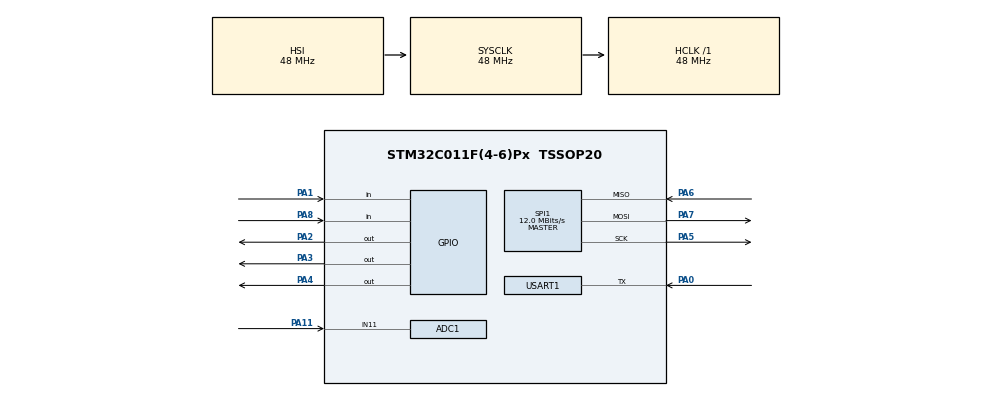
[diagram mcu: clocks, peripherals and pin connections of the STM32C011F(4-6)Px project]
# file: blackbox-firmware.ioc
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ADC1.NbrOfConversionFlag=0
ADC1.SelectedChannel=ADC_CHANNEL_11
ADC1.master=1
Dma.Request0=SPI1_TX
Dma.Request1=SPI1_RX
Dma.Request2=USART1_RX
Dma.SPI1_RX.1.Direction=DMA_PERIPH_TO_MEMORY
Dma.SPI1_RX.1.EventEnable=DISABLE
Dma.SPI1_RX.1.Instance=DMA1_Channel2
Dma.SPI1_RX.1.MemDataAlignment=DMA_MDATAALIGN_BYTE
Dma.SPI1_RX.1.MemInc=DMA_MINC_ENABLE
Dma.SPI1_RX.1.Mode=DMA_NORMAL
Dma.SPI1_RX.1.PeriphDataAlignment=DMA_PDATAALIGN_BYTE
Dma.SPI1_RX.1.PeriphInc=DMA_PINC_DISABLE
Dma.SPI1_RX.1.Polarity=HAL_DMAMUX_REQ_GEN_RISING
Dma.SPI1_RX.1.Priority=DMA_PRIORITY_LOW
Dma.SPI1_RX.1.RequestNumber=1
Dma.SPI1_RX.1.SignalID=NONE
Dma.SPI1_RX.1.SyncEnable=DISABLE
Dma.SPI1_RX.1.SyncPolarity=HAL_DMAMUX_SYNC_NO_EVENT
Dma.SPI1_RX.1.SyncRequestNumber=1
Dma.SPI1_RX.1.SyncSignalID=NONE
Dma.SPI1_TX.0.Direction=DMA_MEMORY_TO_PERIPH
Dma.SPI1_TX.0.EventEnable=DISABLE
Dma.SPI1_TX.0.Instance=DMA1_Channel1
Dma.SPI1_TX.0.MemDataAlignment=DMA_MDATAALIGN_BYTE
Dma.SPI1_TX.0.MemInc=DMA_MINC_ENABLE
Dma.SPI1_TX.0.Mode=DMA_NORMAL
Dma.SPI1_TX.0.PeriphDataAlignment=DMA_PDATAALIGN_BYTE
Dma.SPI1_TX.0.PeriphInc=DMA_PINC_DISABLE
Dma.SPI1_TX.0.Polarity=HAL_DMAMUX_REQ_GEN_RISING
Dma.SPI1_TX.0.Priority=DMA_PRIORITY_VERY_HIGH
Dma.SPI1_TX.0.RequestNumber=1
Dma.SPI1_TX.0.SignalID=NONE
Dma.SPI1_TX.0.SyncEnable=DISABLE
Dma.SPI1_TX.0.SyncPolarity=HAL_DMAMUX_SYNC_NO_EVENT
Dma.SPI1_TX.0.SyncRequestNumber=1
Dma.SPI1_TX.0.SyncSignalID=NONE
Dma.USART1_RX.2.Direction=DMA_PERIPH_TO_MEMORY
Dma.USART1_RX.2.EventEnable=DISABLE
Dma.USART1_RX.2.Instance=DMA1_Channel3
Dma.USART1_RX.2.MemDataAlignment=DMA_MDATAALIGN_BYTE
Dma.USART1_RX.2.MemInc=DMA_MINC_ENABLE
Dma.USART1_RX.2.Mode=DMA_CIRCULAR
Dma.USART1_RX.2.PeriphDataAlignment=DMA_PDATAALIGN_BYTE
Dma.USART1_RX.2.PeriphInc=DMA_PINC_DISABLE
Dma.USART1_RX.2.Polarity=HAL_DMAMUX_REQ_GEN_RISING
Dma.USART1_RX.2.Priority=DMA_PRIORITY_LOW
Dma.USART1_RX.2.RequestNumber=1
Dma.USART1_RX.2.SignalID=NONE
Dma.USART1_RX.2.SyncEnable=DISABLE
Dma.USART1_RX.2.SyncPolarity=HAL_DMAMUX_SYNC_NO_EVENT
Dma.USART1_RX.2.SyncRequestNumber=1
Dma.USART1_RX.2.SyncSignalID=NONE
Mcu.Family=STM32C0
Mcu.Name=STM32C011F(4-6)Px
Mcu.Package=TSSOP20
NVIC.DMA1_Channel1_IRQn=true\:0\:0\:false\:false\:true\:false\:true\:true
NVIC.DMA1_Channel2_3_IRQn=true\:0\:0\:false\:false\:true\:false\:true\:true
NVIC.SPI1_IRQn=true\:0\:0\:false\:false\:true\:true\:true\:true
NVIC.TIM14_IRQn=true\:0\:0\:false\:false\:true\:true\:true\:true
NVIC.USART1_IRQn=true\:0\:0\:false\:false\:true\:true\:true\:true
PA0.Mode=Half_duplex(single_wire_mode)
PA0.Signal=USART1_TX
PA1.GPIO_PuPd=GPIO_PULLUP
PA1.Signal=GPIO_Input
PA11\ [PA9].Mode=IN11
PA11\ [PA9].Signal=ADC1_IN11
PA13.Mode=Serial_Wire
PA13.Signal=DEBUG_SWDIO
PA14-BOOT0.Mode=Serial_Wire
PA14-BOOT0.Signal=DEBUG_SWCLK
PA2.Signal=GPIO_Output
PA3.Signal=GPIO_Output
PA4.GPIO_Speed=GPIO_SPEED_FREQ_VERY_HIGH
PA4.Signal=GPIO_Output
PA5.Mode=Full_Duplex_Master
PA5.Signal=SPI1_SCK
PA6.Mode=Full_Duplex_Master
PA6.Signal=SPI1_MISO
PA7.Mode=Full_Duplex_Master
PA7.Signal=SPI1_MOSI
PA8.GPIO_PuPd=GPIO_PULLUP
PA8.Signal=GPIO_Input
PC14-OSCX_IN\ (PC14).Mode=HSE-External-Oscillator-REMAPPED
PC14-OSCX_IN\ (PC14).Signal=RCC_OSCX_IN
PC15-OSCX_OUT\ (PC15).Mode=HSE-External-Oscillator-REMAPPED
PC15-OSCX_OUT\ (PC15).Signal=RCC_OSCX_OUT
ProjectManager.HeapSize=0x0
ProjectManager.StackSize=0x400
ProjectManager.TargetToolchain=CMake
RCC.ADCFreq_Value=48000000
RCC.AHBFreq_Value=48000000
RCC.CortexFreq_Value=48000000
RCC.EXTERNAL_CLOCK_VALUE=12288000
RCC.HCLKFreq_Value=48000000
RCC.HSE_VALUE=12000000
RCC.HSISYSCLKDivider=RCC_HSI_DIV1
RCC.HSI_VALUE=48000000
RCC.LSE_VALUE=32768
RCC.SYSCLKFreq_VALUE=48000000
SPI1.BaudRatePrescaler=SPI_BAUDRATEPRESCALER_4
SPI1.CalculateBaudRate=12.0 MBits/s
SPI1.Direction=SPI_DIRECTION_2LINES
SPI1.Mode=SPI_MODE_MASTER
SPI1.VirtualType=VM_MASTER
TIM14.Period=999
TIM14.Prescaler=47
USART1.BaudRate=3000000
USART1.Mode=MODE_RX
USART1.VirtualMode-Half_duplex(single_wire_mode)=VM_ASYNC
VP_TIM14_VS_ClockSourceINT.Mode=Enable_Timer
board=custom

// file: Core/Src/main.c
/* USER CODE BEGIN Header */
/**
  ******************************************************************************
  * @file           : main.c
  * @brief          : Main program body
  ******************************************************************************
  * @attention
  *
  * Copyright (c) 2026 STMicroelectronics.
  * All rights reserved.
  *
  * This software is licensed under terms that can be found in the LICENSE file
  * in the root directory of this software component.
  * If no LICENSE file comes with this software, it is provided AS-IS.
  *
  ******************************************************************************
  */
/* USER CODE END Header */
#include "main.h"

/* USER CODE BEGIN Includes */
#include <stdint.h>
#include <string.h>
#include "sd_functions.h"
#include "blackbox.h"
#include "stm32c0xx_hal_gpio.h"
#include "stm32c0xx_hal_spi.h"
#include "stm32c0xx_hal_tim.h"
/* USER CODE END Includes */

/* USER CODE BEGIN PD */
#define LED_STATUS_PIN    GPIO_PIN_2
#define LED_ACTIVITY_PIN  GPIO_PIN_3
#define LED_ACTIVITY_ON_TIME    500
#define LED_PORT          GPIOA
#define ACTIVITY_PULSE_MS 50
#define BTN_PIN           GPIO_PIN_1
#define BTN_PORT          GPIOA
#define BTN_DEBOUNCE_MS   20
#define CD_PIN            GPIO_PIN_8
#define CD_PORT           GPIOA
/* USER CODE END PD */

ADC_HandleTypeDef hadc1;

SPI_HandleTypeDef hspi1;
DMA_HandleTypeDef hdma_spi1_tx;
DMA_HandleTypeDef hdma_spi1_rx;

TIM_HandleTypeDef htim14;

UART_HandleTypeDef huart1;
DMA_HandleTypeDef hdma_usart1_rx;

/* USER CODE BEGIN PV */
SD_Context sd_ctx;
Blackbox blackbox;
volatile uint8_t activity;
volatile uint32_t activity_ms;
uint32_t battery_check_tick;
uint32_t sd_retry_tick;
uint8_t card_present;
volatile uint32_t uart_rx_bytes_total;
volatile uint32_t uart_avg_bps;
volatile uint32_t uart_pending_bps;
volatile uint8_t uart_rate_log_pending;
uint32_t uart_last_event_ms;
uint32_t uart_interval_sum_ms;
uint32_t uart_interval_events;
/* USER CODE END PV */

void SystemClock_Config(void);
static void MX_GPIO_Init(void);
static void MX_DMA_Init(void);
static void MX_ADC1_Init(void);
static void MX_SPI1_Init(void);
static void MX_USART1_UART_Init(void);
static void MX_TIM14_Init(void);

/* USER CODE BEGIN 0 */
static void sh_puts(const char *s)
{
  Log_SemihostText(s);
}

static void sh_put_hex8(uint8_t value)
{
  Log_SemihostHex8(value);
}

static void sh_put_hex32(uint32_t value)
{
  Log_SemihostHex32(value);
}

static void log_blackbox_error(const char *prefix)
{
  sh_puts(prefix);
  sh_put_hex8(blackbox.error);
}

static void update_uart_rate_average(void)
{
  uint32_t now = HAL_GetTick();
  uint32_t elapsed_ms;
  uint32_t bytes_total;
  uint32_t avg_bps;

  uart_rx_bytes_total += BLACKBOX_HALF_SIZE;

  if (uart_last_event_ms == 0U) {
    uart_last_event_ms = now;
    return;
  }

  elapsed_ms = now - uart_last_event_ms;
  uart_last_event_ms = now;
  if (elapsed_ms == 0U) {
    return;
  }

  uart_interval_sum_ms += elapsed_ms;
  uart_interval_events++;

  if (uart_interval_sum_ms < 1000U) {
    return;
  }

  bytes_total = uart_interval_events * BLACKBOX_HALF_SIZE;
  avg_bps = (bytes_total * 1000UL) / uart_interval_sum_ms;
  if (avg_bps > uart_avg_bps) {
    uart_avg_bps = avg_bps;
    uart_pending_bps = avg_bps;
    uart_rate_log_pending = 1U;
  }
  uart_interval_sum_ms = 0U;
  uart_interval_events = 0U;
}

static void log_uart_rate_if_pending(void)
{
  if (uart_rate_log_pending == 0U) {
    return;
  }

  uart_rate_log_pending = 0U;
  sh_puts("uavg\n");
  sh_put_hex32(uart_pending_bps);
}

static void log_dma_overrun(uint8_t is_half)
{
  if ((blackbox.error & BLACKBOX_ERR_OVERRUN) != 0U) {
    return;
  }

  blackbox.error |= BLACKBOX_ERR_OVERRUN;
  sh_puts(is_half ? "ovr:h\n" : "ovr:f\n");
  sh_puts("ovr:w\n");
  sh_put_hex32(blackbox.write_count);
  sh_puts("ovr:t\n");
  sh_put_hex32(blackbox.last_write_ms);
  sh_puts((blackbox.write_count < 4U) ? "ovr:p\n" : "ovr:j\n");
}

static void sd_start_logging(void)
{
  blackbox_init(&blackbox, &sd_ctx, &huart1,
                BLACKBOX_START_SECTOR, BLACKBOX_TIMEOUT_MS);

  if (SD_disk_initialize(&sd_ctx) != 0) {
    blackbox.error |= BLACKBOX_ERR_SD;
    log_blackbox_error("m:sd0=");
    return;
  }
  sh_puts("main: SD initialized\n");

  DWORD sector_count = 0;
  if (SD_disk_ioctl(&sd_ctx, GET_SECTOR_COUNT, &sector_count) != RES_OK
      || sector_count == 0) {
    blackbox.error |= BLACKBOX_ERR_SD;
    log_blackbox_error("m:sc=");
    return;
  }
  blackbox.total_sectors = sector_count;
  blackbox.next_sector = 0;
  sh_puts("main: sector count ready\n");

  if (blackbox.next_sector >= blackbox.total_sectors) {
    blackbox.error |= BLACKBOX_ERR_FULL;
    log_blackbox_error("m:full=");
    return;
  }

  WORD sector_size = 0;
  if (SD_disk_ioctl(&sd_ctx, GET_SECTOR_SIZE, &sector_size) != RES_OK) {
    blackbox.error |= BLACKBOX_ERR_SD;
    log_blackbox_error("m:ss=");
    return;
  }
  blackbox.sector_size = sector_size;

  memset(blackbox.dma_buf, 0, BLACKBOX_HALF_SIZE);
  blackbox.dma_buf[0] = BLACKBOX_SEPARATOR_BYTE;
  if (SD_disk_write(&sd_ctx, blackbox.dma_buf,
                    blackbox.next_sector++, 1) != RES_OK) {
    blackbox.error |= BLACKBOX_ERR_SD;
    log_blackbox_error("m:wr0=");
    return;
  }
  sh_puts("main: initial separator written\n");

  memset(blackbox.dma_buf, 0, BLACKBOX_DMA_BUF_SIZE);
  blackbox_start(&blackbox);
}
/* USER CODE END 0 */

int main(void)
{

  /* MCU Configuration--------------------------------------------------------*/

  /* Reset of all peripherals, Initializes the Flash interface and the Systick. */
  HAL_Init();

  /* Configure the system clock */
  SystemClock_Config();

  /* Initialize all configured peripherals */
  MX_GPIO_Init();
  MX_DMA_Init();
  MX_ADC1_Init();
  MX_SPI1_Init();
  MX_USART1_UART_Init();
  MX_TIM14_Init();
  /* USER CODE BEGIN 2 */
  sh_puts("main: boot\n");
  uart_rx_bytes_total = 0U;
  uart_avg_bps = 0U;
  uart_pending_bps = 0U;
  uart_rate_log_pending = 0U;
  uart_last_event_ms = 0U;
  uart_interval_sum_ms = 0U;
  uart_interval_events = 0U;
  HAL_ADCEx_Calibration_Start(&hadc1);
  SD_init(&sd_ctx, &hspi1, GPIOA, GPIO_PIN_4);
  sd_start_logging();
  card_present = !(blackbox.error & BLACKBOX_ERR_SD);
  if (card_present) {
    sh_puts("main: card present after init\n");
  } else {
    log_blackbox_error("m:init=");
  }

  HAL_ADC_Start(&hadc1);
  if (HAL_ADC_PollForConversion(&hadc1, 10) == HAL_OK) {
    uint32_t adc_val = HAL_ADC_GetValue(&hadc1);
    if (adc_val < BATTERY_LOW_ADC) {
      blackbox.error |= BLACKBOX_ERR_BATTERY;
      log_blackbox_error("m:bat=");
    }
  }
  HAL_ADC_Stop(&hadc1);

  HAL_TIM_Base_Start_IT(&htim14);
  /* USER CODE END 2 */

  /* Infinite loop */
  while (1)
  {

    /* USER CODE BEGIN 3 */
    log_uart_rate_if_pending();
    {
      while (blackbox.error & BLACKBOX_ERR_OVERRUN)
          ;

      uint8_t inserted = (HAL_GPIO_ReadPin(CD_PORT, CD_PIN)
                          == GPIO_PIN_RESET);
      if (!inserted && card_present) {
        sh_puts("main: card removed\n");
        HAL_UART_DMAStop(blackbox.huart);
        blackbox.error |= BLACKBOX_ERR_SD;
        card_present = 0;
        log_blackbox_error("m:rm=");
      } else if (inserted && !card_present
               && (HAL_GetTick() - sd_retry_tick >= 2000)) {
        sh_puts("main: retrying card init\n");
        sd_start_logging();
        card_present =
            !(blackbox.error & BLACKBOX_ERR_SD);
        if (!card_present) {
          sd_retry_tick = HAL_GetTick();
          log_blackbox_error("m:rty=");
        } else {
          sh_puts("main: card reinitialized\n");
        }
      }
    }
    if (card_present) {
        blackbox_process(&blackbox);
    }
    uint32_t now = HAL_GetTick();
    if (now - battery_check_tick >= BATTERY_CHECK_MS) {
      battery_check_tick = now;
      HAL_ADC_Start(&hadc1);
      if (HAL_ADC_PollForConversion(&hadc1, 10) == HAL_OK) {
        uint32_t adc_val = HAL_ADC_GetValue(&hadc1);
        if (adc_val < BATTERY_LOW_ADC)
          blackbox.error |= BLACKBOX_ERR_BATTERY;
        else
          blackbox.error &= (uint8_t)~BLACKBOX_ERR_BATTERY;
      }
      HAL_ADC_Stop(&hadc1);
    }
  }
  /* USER CODE END 3 */
}

void SystemClock_Config(void)
{
  RCC_OscInitTypeDef RCC_OscInitStruct = {0};
  RCC_ClkInitTypeDef RCC_ClkInitStruct = {0};

  __HAL_FLASH_SET_LATENCY(FLASH_LATENCY_1);

  /** Initializes the RCC Oscillators according to the specified parameters
  * in the RCC_OscInitTypeDef structure.
  */
  RCC_OscInitStruct.OscillatorType = RCC_OSCILLATORTYPE_HSI;
  RCC_OscInitStruct.HSIState = RCC_HSI_ON;
  RCC_OscInitStruct.HSIDiv = RCC_HSI_DIV1;
  RCC_OscInitStruct.HSICalibrationValue = RCC_HSICALIBRATION_DEFAULT;
  if (HAL_RCC_OscConfig(&RCC_OscInitStruct) != HAL_OK)
  {
    Error_Handler();
  }

  /** Initializes the CPU, AHB and APB buses clocks
  */
  RCC_ClkInitStruct.ClockType = RCC_CLOCKTYPE_HCLK|RCC_CLOCKTYPE_SYSCLK
                              |RCC_CLOCKTYPE_PCLK1;
  RCC_ClkInitStruct.SYSCLKSource = RCC_SYSCLKSOURCE_HSI;
  RCC_ClkInitStruct.SYSCLKDivider = RCC_SYSCLK_DIV1;
  RCC_ClkInitStruct.AHBCLKDivider = RCC_HCLK_DIV1;
  RCC_ClkInitStruct.APB1CLKDivider = RCC_APB1_DIV1;

  if (HAL_RCC_ClockConfig(&RCC_ClkInitStruct, FLASH_LATENCY_1) != HAL_OK)
  {
    Error_Handler();
  }
}

static void MX_ADC1_Init(void)
{

  ADC_ChannelConfTypeDef sConfig = {0};

  /** Configure the global features of the ADC (Clock, Resolution, Data Alignment and number of conversion)
  */
  hadc1.Instance = ADC1;
  hadc1.Init.ClockPrescaler = ADC_CLOCK_SYNC_PCLK_DIV2;
  hadc1.Init.Resolution = ADC_RESOLUTION_12B;
  hadc1.Init.DataAlign = ADC_DATAALIGN_RIGHT;
  hadc1.Init.ScanConvMode = ADC_SCAN_SEQ_FIXED;
  hadc1.Init.EOCSelection = ADC_EOC_SINGLE_CONV;
  hadc1.Init.LowPowerAutoWait = DISABLE;
  hadc1.Init.LowPowerAutoPowerOff = DISABLE;
  hadc1.Init.ContinuousConvMode = DISABLE;
  hadc1.Init.NbrOfConversion = 1;
  hadc1.Init.DiscontinuousConvMode = DISABLE;
  hadc1.Init.ExternalTrigConv = ADC_SOFTWARE_START;
  hadc1.Init.ExternalTrigConvEdge = ADC_EXTERNALTRIGCONVEDGE_NONE;
  hadc1.Init.DMAContinuousRequests = DISABLE;
  hadc1.Init.Overrun = ADC_OVR_DATA_PRESERVED;
  hadc1.Init.SamplingTimeCommon1 = ADC_SAMPLETIME_1CYCLE_5;
  hadc1.Init.OversamplingMode = DISABLE;
  hadc1.Init.TriggerFrequencyMode = ADC_TRIGGER_FREQ_HIGH;
  if (HAL_ADC_Init(&hadc1) != HAL_OK)
  {
    Error_Handler();
  }

  /** Configure Regular Channel
  */
  sConfig.Channel = ADC_CHANNEL_11;
  sConfig.Rank = ADC_RANK_CHANNEL_NUMBER;
  if (HAL_ADC_ConfigChannel(&hadc1, &sConfig) != HAL_OK)
  {
    Error_Handler();
  }

}

static void MX_SPI1_Init(void)
{

  /* SPI1 parameter configuration*/
  hspi1.Instance = SPI1;
  hspi1.Init.Mode = SPI_MODE_MASTER;
  hspi1.Init.Direction = SPI_DIRECTION_2LINES;
  hspi1.Init.DataSize = SPI_DATASIZE_8BIT;
  hspi1.Init.CLKPolarity = SPI_POLARITY_LOW;
  hspi1.Init.CLKPhase = SPI_PHASE_1EDGE;
  hspi1.Init.NSS = SPI_NSS_SOFT;
  hspi1.Init.BaudRatePrescaler = SPI_BAUDRATEPRESCALER_4;
  hspi1.Init.FirstBit = SPI_FIRSTBIT_MSB;
  hspi1.Init.TIMode = SPI_TIMODE_DISABLE;
  hspi1.Init.CRCCalculation = SPI_CRCCALCULATION_DISABLE;
  hspi1.Init.CRCPolynomial = 7;
  hspi1.Init.CRCLength = SPI_CRC_LENGTH_DATASIZE;
  hspi1.Init.NSSPMode = SPI_NSS_PULSE_ENABLE;
  if (HAL_SPI_Init(&hspi1) != HAL_OK)
  {
    Error_Handler();
  }

}

static void MX_TIM14_Init(void)
{

  htim14.Instance = TIM14;
  htim14.Init.Prescaler = 47;
  htim14.Init.CounterMode = TIM_COUNTERMODE_UP;
  htim14.Init.Period = 999;
  htim14.Init.ClockDivision = TIM_CLOCKDIVISION_DIV1;
  htim14.Init.AutoReloadPreload = TIM_AUTORELOAD_PRELOAD_DISABLE;
  if (HAL_TIM_Base_Init(&htim14) != HAL_OK)
  {
    Error_Handler();
  }

}

static void MX_USART1_UART_Init(void)
{

  huart1.Instance = USART1;
  huart1.Init.BaudRate = 3000000;
  huart1.Init.WordLength = UART_WORDLENGTH_8B;
  huart1.Init.StopBits = UART_STOPBITS_1;
  huart1.Init.Parity = UART_PARITY_NONE;
  huart1.Init.Mode = UART_MODE_RX;
  huart1.Init.HwFlowCtl = UART_HWCONTROL_NONE;
  huart1.Init.OverSampling = UART_OVERSAMPLING_16;
  huart1.Init.OneBitSampling = UART_ONE_BIT_SAMPLE_DISABLE;
  huart1.Init.ClockPrescaler = UART_PRESCALER_DIV1;
  huart1.AdvancedInit.AdvFeatureInit = UART_ADVFEATURE_NO_INIT;
  if (HAL_HalfDuplex_Init(&huart1) != HAL_OK)
  {
    Error_Handler();
  }
  if (HAL_UARTEx_SetTxFifoThreshold(&huart1, UART_TXFIFO_THRESHOLD_1_8) != HAL_OK)
  {
    Error_Handler();
  }
  if (HAL_UARTEx_SetRxFifoThreshold(&huart1, UART_RXFIFO_THRESHOLD_1_8) != HAL_OK)
  {
    Error_Handler();
  }
  if (HAL_UARTEx_DisableFifoMode(&huart1) != HAL_OK)
  {
    Error_Handler();
  }

}

static void MX_DMA_Init(void)
{

  /* DMA controller clock enable */
  __HAL_RCC_DMA1_CLK_ENABLE();

  /* DMA interrupt init */
  /* DMA1_Channel1_IRQn interrupt configuration */
  HAL_NVIC_SetPriority(DMA1_Channel1_IRQn, 0, 0);
  HAL_NVIC_EnableIRQ(DMA1_Channel1_IRQn);
  /* DMA1_Channel2_3_IRQn interrupt configuration */
  HAL_NVIC_SetPriority(DMA1_Channel2_3_IRQn, 0, 0);
  HAL_NVIC_EnableIRQ(DMA1_Channel2_3_IRQn);

}

static void MX_GPIO_Init(void)
{
  GPIO_InitTypeDef GPIO_InitStruct = {0};

  /* GPIO Ports Clock Enable */
  __HAL_RCC_GPIOC_CLK_ENABLE();
  __HAL_RCC_GPIOA_CLK_ENABLE();

  /*Configure GPIO pin Output Level */
  HAL_GPIO_WritePin(GPIOA, GPIO_PIN_2|GPIO_PIN_3|GPIO_PIN_4, GPIO_PIN_RESET);

  /*Configure GPIO pins : PA1 PA8 */
  GPIO_InitStruct.Pin = GPIO_PIN_1|GPIO_PIN_8;
  GPIO_InitStruct.Mode = GPIO_MODE_INPUT;
  GPIO_InitStruct.Pull = GPIO_PULLUP;
  HAL_GPIO_Init(GPIOA, &GPIO_InitStruct);

  /*Configure GPIO pins : PA2 PA3 */
  GPIO_InitStruct.Pin = GPIO_PIN_2|GPIO_PIN_3;
  GPIO_InitStruct.Mode = GPIO_MODE_OUTPUT_PP;
  GPIO_InitStruct.Pull = GPIO_NOPULL;
  GPIO_InitStruct.Speed = GPIO_SPEED_FREQ_LOW;
  HAL_GPIO_Init(GPIOA, &GPIO_InitStruct);

  /*Configure GPIO pin : PA4 */
  GPIO_InitStruct.Pin = GPIO_PIN_4;
  GPIO_InitStruct.Mode = GPIO_MODE_OUTPUT_PP;
  GPIO_InitStruct.Pull = GPIO_NOPULL;
  GPIO_InitStruct.Speed = GPIO_SPEED_FREQ_VERY_HIGH;
  HAL_GPIO_Init(GPIOA, &GPIO_InitStruct);

}

/* USER CODE BEGIN 4 */
void HAL_SPI_TxCpltCallback(SPI_HandleTypeDef *hspi)
{
  if (hspi->Instance == SPI1)
    SD_spi_tx_complete(&sd_ctx);
}

void HAL_SPI_RxCpltCallback(SPI_HandleTypeDef *hspi)
{
  if (hspi->Instance == SPI1)
    SD_spi_rx_complete(&sd_ctx);
}

void HAL_SPI_TxRxCpltCallback(SPI_HandleTypeDef *hspi)
{
  if (hspi->Instance == SPI1)
    SD_spi_txrx_complete(&sd_ctx);
}

void HAL_UART_RxHalfCpltCallback(UART_HandleTypeDef *huart)
{
    if (huart->Instance == USART1) {
        if ((blackbox.do_write & 0x02U) != 0U) {
            log_dma_overrun(1U);
            return;
        }
        if (blackbox.do_write == 0U) {
            blackbox.buffer_to_write = 0;
        }
        blackbox.do_write |= 0x01U;
        update_uart_rate_average();
    }
}

void HAL_UART_RxCpltCallback(UART_HandleTypeDef *huart)
{
    if (huart->Instance == USART1) {
        if ((blackbox.do_write & 0x01U) != 0U) {
            log_dma_overrun(0U);
            return;
        }
        if (blackbox.do_write == 0U) {
            blackbox.buffer_to_write = 1;
        }
        blackbox.do_write |= 0x02U;
        update_uart_rate_average();
    }
}

static volatile enum : uint8_t {
    StatusLEDIdle,
    StatusLEDBlinking,
    StatusLEDBlanking
} status_led_state = StatusLEDIdle;

static void periodic_task_handler()
{
    blackbox_tick(&blackbox);

    /* ---------------- Activity LED (unchanged) ---------------- */

    static volatile uint32_t activity_deltatime = 0;
    if (blackbox.is_active) {
        if (activity_deltatime++ >= LED_ACTIVITY_ON_TIME) {
            HAL_GPIO_TogglePin(LED_PORT, LED_ACTIVITY_PIN);
            activity_deltatime = 0;
        }
    } else {
        HAL_GPIO_WritePin(LED_PORT, LED_ACTIVITY_PIN, GPIO_PIN_RESET);
    }

    /* ---------------- Status LED (error blinking) ---------------- */

    static uint32_t status_timer = 0;
    static uint8_t blink_count = 0;
    static uint8_t blink_target = 0;
    static uint8_t led_on = 0;

    uint8_t err = blackbox.error;

    switch (status_led_state)
    {
        case StatusLEDIdle:
            HAL_GPIO_WritePin(LED_PORT, LED_STATUS_PIN, GPIO_PIN_RESET);

            if (err)
            {
                blink_target = err;
                blink_count  = 0;
                status_timer = 0;
                led_on       = 1;

                HAL_GPIO_WritePin(LED_PORT, LED_STATUS_PIN, GPIO_PIN_SET);

                status_led_state = StatusLEDBlinking;
            }
            break;

        case StatusLEDBlinking:
            if (++status_timer >= 500)   // 500 ms
            {
                status_timer = 0;
                if (led_on)
                {
                    // Turn LED OFF (end of ON phase)
                    HAL_GPIO_WritePin(LED_PORT, LED_STATUS_PIN, GPIO_PIN_RESET);
                    led_on = 0;
                }
                else
                {
                    // Completed one full blink (ON + OFF)
                    blink_count++;
                    if (blink_count >= blink_target)
                    {
                        // All blinks done → go to 3 second pause
                        status_led_state = StatusLEDBlanking;
                    }
                    else
                    {
                        // Start next blink
                        HAL_GPIO_WritePin(LED_PORT, LED_STATUS_PIN, GPIO_PIN_SET);
                        led_on = 1;
                    }
                }
            }
            break;

        case StatusLEDBlanking:

            HAL_GPIO_WritePin(LED_PORT, LED_STATUS_PIN, GPIO_PIN_RESET);

            if (++status_timer >= 3000)  // 3 seconds pause
            {
                status_timer = 0;
                if (err)
                {
                    // Restart blinking same error
                    blink_target = err;
                    blink_count  = 0;
                    led_on       = 1;

                    HAL_GPIO_WritePin(LED_PORT, LED_STATUS_PIN, GPIO_PIN_SET);

                    status_led_state = StatusLEDBlinking;
                }
                else
                {
                    status_led_state = StatusLEDIdle;
                }
            }
            break;
    }

    // ========================= BUTTON DEBOUNCE =========================
    //
    static uint8_t button_stable_state = 1;
    static uint16_t button_debounce_counter = 0;
    uint8_t button_raw = HAL_GPIO_ReadPin(BTN_PORT, BTN_PIN);  // 1 = not pressed, 0 = pressed

    if (button_raw != button_stable_state)
    {
        if (++button_debounce_counter >= 50)  // 50 ms debounce time
        {
            button_stable_state = button_raw;
            button_debounce_counter = 0;

            if (button_stable_state == GPIO_PIN_RESET)
                blackbox.push_separator = 1;
        }
    }
    else
    {
        button_debounce_counter = 0;
    }
}

void HAL_TIM_PeriodElapsedCallback(TIM_HandleTypeDef *htim)
{
    if (htim == &htim14)
        periodic_task_handler();
}

/* USER CODE END 4 */

void Error_Handler(void)
{
  __disable_irq();
  while (1)
  {
  }
}
